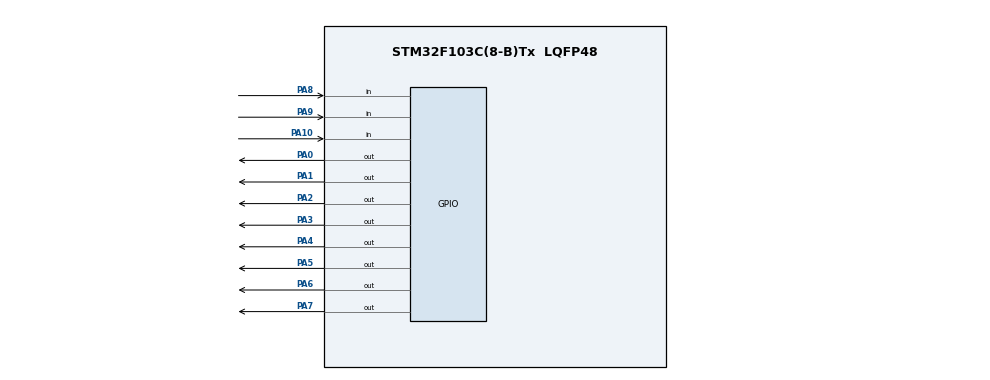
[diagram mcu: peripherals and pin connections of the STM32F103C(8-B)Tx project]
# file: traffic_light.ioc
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Mcu.Family=STM32F1
Mcu.Name=STM32F103C(8-B)Tx
Mcu.Package=LQFP48
NVIC.PriorityGroup=NVIC_PRIORITYGROUP_4
PA0-WKUP.Signal=GPIO_Output
PA1.Signal=GPIO_Output
PA10.GPIO_PuPd=GPIO_PULLDOWN
PA10.Signal=GPIO_Input
PA13.Mode=Serial_Wire
PA13.Signal=SYS_JTMS-SWDIO
PA14.Mode=Serial_Wire
PA14.Signal=SYS_JTCK-SWCLK
PA2.Signal=GPIO_Output
PA3.Signal=GPIO_Output
PA4.Signal=GPIO_Output
PA5.Signal=GPIO_Output
PA6.Signal=GPIO_Output
PA7.Signal=GPIO_Output
PA8.GPIO_PuPd=GPIO_PULLDOWN
PA8.Signal=GPIO_Input
PA9.GPIO_PuPd=GPIO_PULLDOWN
PA9.Signal=GPIO_Input
ProjectManager.HeapSize=0x200
ProjectManager.StackSize=0x400
ProjectManager.TargetToolchain=STM32CubeIDE
RCC.APB1Freq_Value=8000000
RCC.APB2Freq_Value=8000000
board=custom

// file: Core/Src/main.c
/* USER CODE BEGIN Header */
/**
  ******************************************************************************
  * @file           : main.c
  * @brief          : Main program body
  ******************************************************************************
  * @attention
  *
  * Copyright (c) 2023 STMicroelectronics.
  * All rights reserved.
  *
  * This software is licensed under terms that can be found in the LICENSE file
  * in the root directory of this software component.
  * If no LICENSE file comes with this software, it is provided AS-IS.
  *
  ******************************************************************************
  */
/* USER CODE END Header */
#include "main.h"

/* USER CODE BEGIN PTD */
struct State{
	uint32_t 	output;
	uint32_t 	time;
	uint32_t 	next[8];

};
typedef struct State StateType;
/* USER CODE END PTD */

/* USER CODE BEGIN PD */
#define 		goS			0 // go west
#define 		waitS		1 // wait west
#define 		goW			2 // go south
#define 		waitW		3 // wait south
#define 		walk		4 // wait
/* USER CODE END PD */

/* USER CODE BEGIN PV */
StateType FSM[5] = {
    {0x32, 5000, {waitS, waitS, waitS, waitS, goS, waitS, waitS, waitS}},
    {0x52, 2000, {goW, walk, goW, goW, goS, walk, goW, goW}},
    {0x86, 5000, {waitW, waitW, goW, waitW, waitW, waitW, waitW, waitW}},
    {0x8A, 2000, {walk, walk, goW, walk, goS, walk, goS, walk}},
    {0x91, 5000, {goS, walk, goW, goW, goS, goS, goS, goS}},
};
uint32_t S;
uint32_t input;
/* USER CODE END PV */

void SystemClock_Config(void);
static void MX_GPIO_Init(void);

int main(void)
{
  /* USER CODE BEGIN 1 */
	S = goS;
  /* USER CODE END 1 */

  /* MCU Configuration--------------------------------------------------------*/

  /* Reset of all peripherals, Initializes the Flash interface and the Systick. */
  HAL_Init();

  /* Configure the system clock */
  SystemClock_Config();

  /* Initialize all configured peripherals */
  MX_GPIO_Init();

  /* Infinite loop */
  while (1)
  {
		//write output to port A
		GPIOA->ODR = FSM[S].output;

		// set time
		HAL_Delay(FSM[S].time);

		//get input
		input = ((GPIOA->IDR)>>8)&0x07;

		//change state
		S = FSM[S].next[input];
  }
}

void SystemClock_Config(void)
{
  RCC_OscInitTypeDef RCC_OscInitStruct = {0};
  RCC_ClkInitTypeDef RCC_ClkInitStruct = {0};

  /** Initializes the RCC Oscillators according to the specified parameters
  * in the RCC_OscInitTypeDef structure.
  */
  RCC_OscInitStruct.OscillatorType = RCC_OSCILLATORTYPE_HSI;
  RCC_OscInitStruct.HSIState = RCC_HSI_ON;
  RCC_OscInitStruct.HSICalibrationValue = RCC_HSICALIBRATION_DEFAULT;
  RCC_OscInitStruct.PLL.PLLState = RCC_PLL_NONE;
  if (HAL_RCC_OscConfig(&RCC_OscInitStruct) != HAL_OK)
  {
    Error_Handler();
  }

  /** Initializes the CPU, AHB and APB buses clocks
  */
  RCC_ClkInitStruct.ClockType = RCC_CLOCKTYPE_HCLK|RCC_CLOCKTYPE_SYSCLK
                              |RCC_CLOCKTYPE_PCLK1|RCC_CLOCKTYPE_PCLK2;
  RCC_ClkInitStruct.SYSCLKSource = RCC_SYSCLKSOURCE_HSI;
  RCC_ClkInitStruct.AHBCLKDivider = RCC_SYSCLK_DIV1;
  RCC_ClkInitStruct.APB1CLKDivider = RCC_HCLK_DIV1;
  RCC_ClkInitStruct.APB2CLKDivider = RCC_HCLK_DIV1;

  if (HAL_RCC_ClockConfig(&RCC_ClkInitStruct, FLASH_LATENCY_0) != HAL_OK)
  {
    Error_Handler();
  }
}

static void MX_GPIO_Init(void)
{
  GPIO_InitTypeDef GPIO_InitStruct = {0};

  /* GPIO Ports Clock Enable */
  __HAL_RCC_GPIOA_CLK_ENABLE();

  /*Configure GPIO pin Output Level */
  HAL_GPIO_WritePin(GPIOA, GPIO_PIN_0|GPIO_PIN_1|GPIO_PIN_2|GPIO_PIN_3
                          |GPIO_PIN_4|GPIO_PIN_5|GPIO_PIN_6|GPIO_PIN_7, GPIO_PIN_RESET);

  /*Configure GPIO pins : PA0 PA1 PA2 PA3
                           PA4 PA5 PA6 PA7 */
  GPIO_InitStruct.Pin = GPIO_PIN_0|GPIO_PIN_1|GPIO_PIN_2|GPIO_PIN_3
                          |GPIO_PIN_4|GPIO_PIN_5|GPIO_PIN_6|GPIO_PIN_7;
  GPIO_InitStruct.Mode = GPIO_MODE_OUTPUT_PP;
  GPIO_InitStruct.Pull = GPIO_NOPULL;
  GPIO_InitStruct.Speed = GPIO_SPEED_FREQ_LOW;
  HAL_GPIO_Init(GPIOA, &GPIO_InitStruct);

  /*Configure GPIO pins : PA8 PA9 PA10 */
  GPIO_InitStruct.Pin = GPIO_PIN_8|GPIO_PIN_9|GPIO_PIN_10;
  GPIO_InitStruct.Mode = GPIO_MODE_INPUT;
  GPIO_InitStruct.Pull = GPIO_PULLDOWN;
  HAL_GPIO_Init(GPIOA, &GPIO_InitStruct);

}

void Error_Handler(void)
{
  __disable_irq();
  while (1)
  {
  }
}
